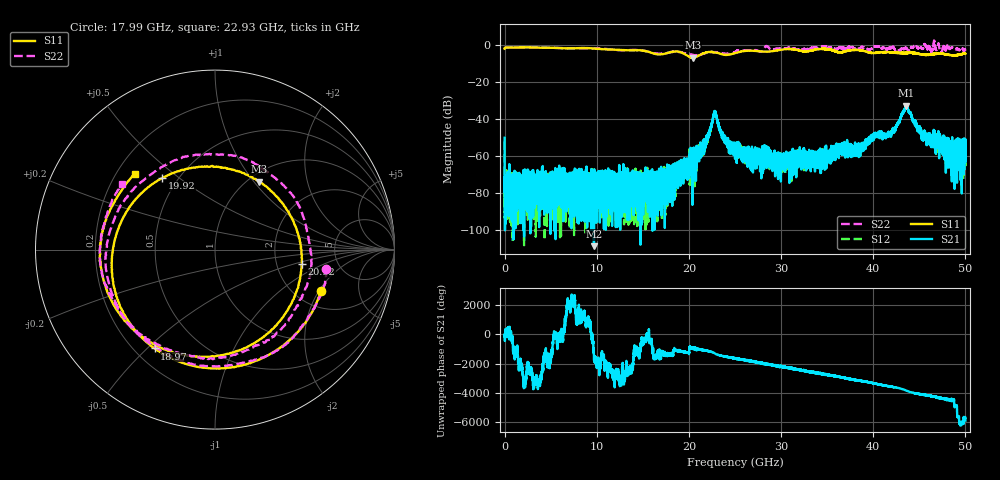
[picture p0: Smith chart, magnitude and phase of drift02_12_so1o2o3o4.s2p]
!Created with skrf (http://scikit-rf.org).
# Hz S RI R 50.0
!freq ReS11 ImS11 ReS21 ImS21 ReS12 ImS12 ReS22 ImS22
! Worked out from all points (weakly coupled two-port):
!   10001 points, 300 kHz to 50 GHz, reference 50 ohm
!   highest |S21| = -32.99 dB at 43.59 GHz (marker M1); lowest = -108.9 dB at 9.695 GHz (marker M2)
!   lowest |S11| = -6.9 dB at 20.41 GHz (marker M3), VSWR 2.64, Z = 55.8 + j53 ohm
!   |S11| at or under -10 dB: nowhere
!   |S22| runs from -5.7 to 2.4 dB; largest |S21 - S12| = 0.0052
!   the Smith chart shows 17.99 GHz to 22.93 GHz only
!   S11 on the Smith chart (normalised r, x): 17.99 GHz: 2.70, -2.08; 18.97 GHz: 0.28, -0.53; 19.92 GHz: 0.41, +0.44; 20.92 GHz: 2.77, -0.60; 22.93 GHz: 0.27, +0.37
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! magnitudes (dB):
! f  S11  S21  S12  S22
! 300 kHz  -2.1  -50.3  -52.2  -2.1
! 255.3 MHz  -1.4  -73.3  -78.2  -1.4
! 8.335 GHz  -1.7  -69.2  -89.0  -1.9
! 9.695 GHz  -2.0  -108.9  -76.8  -2.0
! 16.67 GHz  -5.2  -75.6  -74.4  -4.8
! 17.99 GHz  -4.0  -68.6  -69.0  -4.0
! 18.97 GHz  -3.8  -71.3  -70.7  -3.9
! 19.92 GHz  -6.1  -63.4  -64.9  -5.2
! 20.41 GHz  -6.9  -58.3  -57.6  -5.5
! 20.92 GHz  -6.2  -59.9  -62.5  -5.6
! 21.71 GHz  -4.4  -51.9  -51.4  -4.6
! 22.93 GHz  -4.2  -37.4  -37.2  -3.9
! 23.76 GHz  -5.3  -50.9  -50.1  -4.6
! 25 GHz  -4.5  -56.4  -55.9  -3.9
! 29.75 GHz  -2.9  -64.5  -68.9  -2.1
! 33.34 GHz  -3.0  -63.1  -61.7  -1.5
! 37.98 GHz  -2.7  -56.9  -57.1  -2.0
! 40.23 GHz  -4.4  -49.3  -48.6  -0.7
! 41.67 GHz  -4.0  -47.0  -49.1  -1.9
! 43.59 GHz  -4.5  -33.0  -33.5  -1.5
! 45.59 GHz  -5.4  -48.2  -47.3  0.4
! 50 GHz  -4.8  -59.3  -57.0  -2.6
